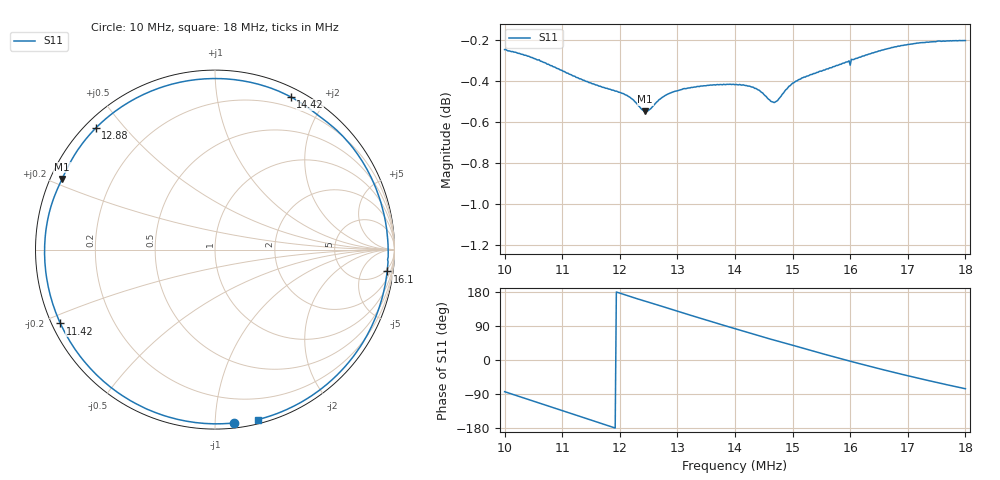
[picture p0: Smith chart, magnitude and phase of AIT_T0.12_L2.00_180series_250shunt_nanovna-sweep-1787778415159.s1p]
! NanoVNA Web complex sweep
! Processing: original sample grid, no browser smoothing
# Hz S RI R 50
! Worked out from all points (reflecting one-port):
!   401 points, 10 MHz to 18 MHz, reference 50 ohm
!   lowest |S11| = -0.5 dB at 12.44 MHz (marker M1), VSWR 31.69, Z = 1.65 + j11 ohm
!   phase of S11 starts at -84 deg and turns -352 deg over the sweep
!   S11 on the Smith chart (normalised r, x): 10 MHz: 0.03, -1.12; 11.42 MHz: 0.02, -0.23; 12.88 MHz: 0.03, +0.42; 14.42 MHz: 0.09, +1.61; 16.1 MHz: 4, -15; 18 MHz: 0.03, -1.28
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1e7  0.1082 -0.9658
1.026e7  -0.1086 -0.9637
1.05e7  -0.3045 -0.9179
1.074e7  -0.4868 -0.8319
1.1e7  -0.6597 -0.6981
1.142e7  -0.8615 -0.4113
1.17e7  -0.9325 -0.1893
1.2e7  -0.9471 0.0581
1.22e7  -0.9197 0.2197
1.244e7  -0.8522 0.3938
1.266e7  -0.7735 0.5414
1.288e7  -0.6648 0.6765
1.3e7  -0.5952 0.7401
1.326e7  -0.426 0.8507
1.35e7  -0.2541 0.9179
1.374e7  -0.074 0.9502
1.4e7  0.1227 0.9449
1.442e7  0.4214 0.8514
1.5e7  0.7417 0.5995
1.524e7  0.8412 0.4573
1.55e7  0.916 0.2876
1.574e7  0.9548 0.1242
1.6e7  0.9618 -0.0555
1.61e7  0.9594 -0.1218
1.652e7  0.8895 -0.3897
1.7e7  0.7294 -0.6464
1.75e7  0.5001 -0.8385
1.8e7  0.239 -0.947
